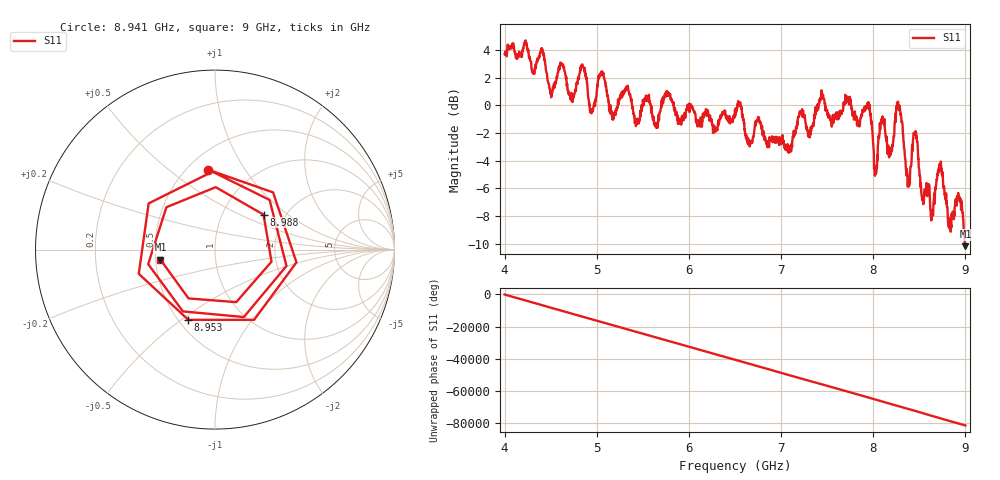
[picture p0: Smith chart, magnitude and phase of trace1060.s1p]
! Created with skrf 1.8.0 (http://scikit-rf.org).
# Hz S RI R 50.0
!freq ReS11 ImS11
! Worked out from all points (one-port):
!   1601 points, 4 GHz to 9 GHz, reference 50 ohm
!   lowest |S11| = -10.2 dB at 9 GHz (marker M1), VSWR 1.90, Z = 26.5 - j3.28 ohm
!   |S11| at or under -10 dB: 8.993715 GHz to end of sweep
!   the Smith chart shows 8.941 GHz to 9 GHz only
!   S11 on the Smith chart (normalised r, x): 8.941 GHz: 0.62, +0.70; 8.953 GHz: 0.56, -0.53; 8.988 GHz: 1.56, +0.68; 9 GHz: 0.53, -0.07
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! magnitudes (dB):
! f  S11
! 4 GHz  3.7
! 4.406 GHz  4.1
! 4.506 GHz  0.6
! 4.625 GHz  3.0
! 4.728 GHz  0.9
! 4.853 GHz  2.8
! 4.941 GHz  -0.6
! 5.047 GHz  2.4
! 5.25 GHz  0.6
! 5.875 GHz  -1.1
! 6.5 GHz  -0.3
! 7.125 GHz  -2.5
! 7.75 GHz  0.2
! 7.95 GHz  0.1
! 8.025 GHz  -5.0
! 8.097 GHz  -0.9
! 8.178 GHz  -3.5
! 8.275 GHz  0.0
! 8.375 GHz  -5.9
! 8.456 GHz  -1.9
! 8.528 GHz  -6.6
! 8.641 GHz  -7.6
! 8.722 GHz  -4.6
! 8.828 GHz  -8.6
! 8.941 GHz  -7.0
! 8.953 GHz  -7.6
! 8.988 GHz  -9.5
! 9 GHz  -10.2
